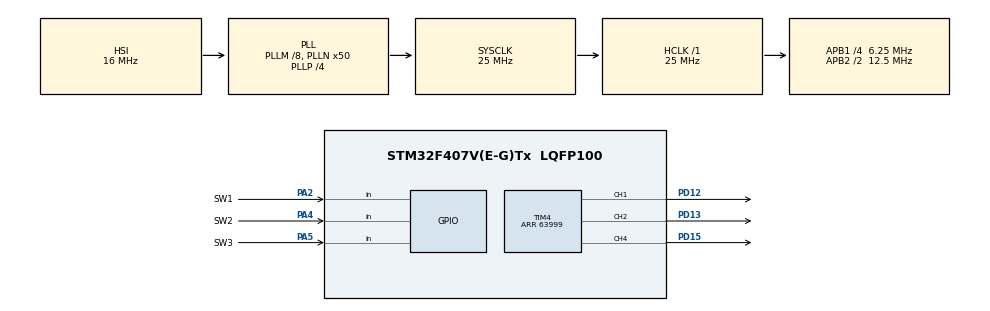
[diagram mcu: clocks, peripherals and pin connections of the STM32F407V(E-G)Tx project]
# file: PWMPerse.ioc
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Mcu.Family=STM32F4
Mcu.Name=STM32F407V(E-G)Tx
Mcu.Package=LQFP100
NVIC.PriorityGroup=NVIC_PRIORITYGROUP_0
PA2.GPIO_Label=SW1
PA2.Signal=GPIO_Input
PA4.GPIO_Label=SW2
PA4.Signal=GPIO_Input
PA5.GPIO_Label=SW3
PA5.Signal=GPIO_Input
PD12.Signal=S_TIM4_CH1
PD13.Signal=S_TIM4_CH2
PD15.Signal=S_TIM4_CH4
ProjectManager.HeapSize=0x200
ProjectManager.StackSize=0x400
ProjectManager.TargetToolchain=STM32CubeIDE
RCC.48MHZClocksFreq_Value=14285714.285714285
RCC.AHBFreq_Value=25000000
RCC.APB1CLKDivider=RCC_HCLK_DIV4
RCC.APB1Freq_Value=6250000
RCC.APB1TimFreq_Value=12500000
RCC.APB2CLKDivider=RCC_HCLK_DIV2
RCC.APB2Freq_Value=12500000
RCC.APB2TimFreq_Value=25000000
RCC.CortexFreq_Value=25000000
RCC.HCLKFreq_Value=25000000
RCC.HSE_VALUE=8000000
RCC.HSI_VALUE=16000000
RCC.LSE_VALUE=32768
RCC.PLLM=8
RCC.PLLN=50
RCC.PLLP=RCC_PLLP_DIV4
RCC.PLLQ=7
RCC.SYSCLKFreq_VALUE=25000000
RCC.SYSCLKSource=RCC_SYSCLKSOURCE_PLLCLK
RCC.VCOOutputFreq_Value=100000000
SH.S_TIM4_CH1.0=TIM4_CH1,PWM Generation1 CH1
SH.S_TIM4_CH2.0=TIM4_CH2,PWM Generation2 CH2
SH.S_TIM4_CH4.0=TIM4_CH4,PWM Generation4 CH4
TIM4.Channel-PWM\ Generation1\ CH1=TIM_CHANNEL_1
TIM4.Channel-PWM\ Generation2\ CH2=TIM_CHANNEL_2
TIM4.Channel-PWM\ Generation4\ CH4=TIM_CHANNEL_4
TIM4.Period=63999
VP_TIM4_VS_ClockSourceINT.Mode=Internal
board=STM32F407G-DISC1

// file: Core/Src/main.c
/* USER CODE BEGIN Header */
/**
 ******************************************************************************
 * @file           : main.c
 * @brief          : Main program body
 ******************************************************************************
 * @attention
 *
 * Copyright (c) 2026 STMicroelectronics.
 * All rights reserved.
 *
 * This software is licensed under terms that can be found in the LICENSE file
 * in the root directory of this software component.
 * If no LICENSE file comes with this software, it is provided AS-IS.
 *
 ******************************************************************************
 */
/* USER CODE END Header */
#include "main.h"
#include <stdbool.h>

/* USER CODE BEGIN PD */
#define TENCENDIDO 2000
#define TAPAGADO 1000
#define TCAMBIO 100
#define VALCAMBIO 16000 //Variable de cambio
#define TREBOTES 20  // intervalo de rebotes en ms

TIM_HandleTypeDef htim4;

uint16_t x = 0;
uint16_t y = 0;

void SystemClock_Config(void);
static void MX_GPIO_Init(void);
static void MX_TIM4_Init(void);

void inicio(void); // Prueba inicial del sistema
// Verificación de botones
bool VerificarSW1(void);
bool VerificarSW2(void);
bool VerificarSW3(void);
// Funciones del programa
void Breathing(void);
void transicionRA(void);
void transicionAV(void);
void transicionVR(void);
void CambiarModo(void);
void CambiarLed(void);
void CambiarBlink(void);
void Blink(void);

// Vector de estados que contiene los distintos modos
typedef enum {
	Modo_Breathing, Modo_Crossfade, Modo_blink
} Modo_t;
static Modo_t modo_actual = Modo_Breathing;

int main(void) {

	HAL_Init();
	SystemClock_Config();
	MX_GPIO_Init();
	MX_TIM4_Init();

	inicio();

	while (1) {
		CambiarModo();
		switch (modo_actual) {
		case Modo_Breathing:
			Breathing();
			break;
		case Modo_Crossfade:
			transicionRA();
			transicionAV();
			transicionVR();
			break;
		case Modo_blink:
			CambiarBlink();
			Blink();
			break;
		}
	}
}

void SystemClock_Config(void) {
	RCC_OscInitTypeDef RCC_OscInitStruct = { 0 };
	RCC_ClkInitTypeDef RCC_ClkInitStruct = { 0 };

	/** Configure the main internal regulator output voltage
	 */
	__HAL_RCC_PWR_CLK_ENABLE();
	__HAL_PWR_VOLTAGESCALING_CONFIG(PWR_REGULATOR_VOLTAGE_SCALE1);

	/** Initializes the RCC Oscillators according to the specified parameters
	 * in the RCC_OscInitTypeDef structure.
	 */
	RCC_OscInitStruct.OscillatorType = RCC_OSCILLATORTYPE_HSI;
	RCC_OscInitStruct.HSIState = RCC_HSI_ON;
	RCC_OscInitStruct.HSICalibrationValue = RCC_HSICALIBRATION_DEFAULT;
	RCC_OscInitStruct.PLL.PLLState = RCC_PLL_ON;
	RCC_OscInitStruct.PLL.PLLSource = RCC_PLLSOURCE_HSI;
	RCC_OscInitStruct.PLL.PLLM = 8;
	RCC_OscInitStruct.PLL.PLLN = 50;
	RCC_OscInitStruct.PLL.PLLP = RCC_PLLP_DIV4;
	RCC_OscInitStruct.PLL.PLLQ = 7;
	if (HAL_RCC_OscConfig(&RCC_OscInitStruct) != HAL_OK) {
		Error_Handler();
	}

	/** Initializes the CPU, AHB and APB buses clocks
	 */
	RCC_ClkInitStruct.ClockType = RCC_CLOCKTYPE_HCLK | RCC_CLOCKTYPE_SYSCLK
			| RCC_CLOCKTYPE_PCLK1 | RCC_CLOCKTYPE_PCLK2;
	RCC_ClkInitStruct.SYSCLKSource = RCC_SYSCLKSOURCE_PLLCLK;
	RCC_ClkInitStruct.AHBCLKDivider = RCC_SYSCLK_DIV1;
	RCC_ClkInitStruct.APB1CLKDivider = RCC_HCLK_DIV4;
	RCC_ClkInitStruct.APB2CLKDivider = RCC_HCLK_DIV2;

	if (HAL_RCC_ClockConfig(&RCC_ClkInitStruct, FLASH_LATENCY_0) != HAL_OK) {
		Error_Handler();
	}
}

static void MX_TIM4_Init(void) {

	TIM_ClockConfigTypeDef sClockSourceConfig = { 0 };
	TIM_MasterConfigTypeDef sMasterConfig = { 0 };
	TIM_OC_InitTypeDef sConfigOC = { 0 };

	htim4.Instance = TIM4;
	htim4.Init.Prescaler = 0;
	htim4.Init.CounterMode = TIM_COUNTERMODE_UP;
	htim4.Init.Period = 63999;
	htim4.Init.ClockDivision = TIM_CLOCKDIVISION_DIV1;
	htim4.Init.AutoReloadPreload = TIM_AUTORELOAD_PRELOAD_DISABLE;
	if (HAL_TIM_Base_Init(&htim4) != HAL_OK) {
		Error_Handler();
	}
	sClockSourceConfig.ClockSource = TIM_CLOCKSOURCE_INTERNAL;
	if (HAL_TIM_ConfigClockSource(&htim4, &sClockSourceConfig) != HAL_OK) {
		Error_Handler();
	}
	if (HAL_TIM_PWM_Init(&htim4) != HAL_OK) {
		Error_Handler();
	}
	sMasterConfig.MasterOutputTrigger = TIM_TRGO_RESET;
	sMasterConfig.MasterSlaveMode = TIM_MASTERSLAVEMODE_DISABLE;
	if (HAL_TIMEx_MasterConfigSynchronization(&htim4, &sMasterConfig)
			!= HAL_OK) {
		Error_Handler();
	}
	sConfigOC.OCMode = TIM_OCMODE_PWM1;
	sConfigOC.Pulse = 0;
	sConfigOC.OCPolarity = TIM_OCPOLARITY_HIGH;
	sConfigOC.OCFastMode = TIM_OCFAST_DISABLE;
	if (HAL_TIM_PWM_ConfigChannel(&htim4, &sConfigOC, TIM_CHANNEL_1)
			!= HAL_OK) {
		Error_Handler();
	}
	if (HAL_TIM_PWM_ConfigChannel(&htim4, &sConfigOC, TIM_CHANNEL_2)
			!= HAL_OK) {
		Error_Handler();
	}
	if (HAL_TIM_PWM_ConfigChannel(&htim4, &sConfigOC, TIM_CHANNEL_4)
			!= HAL_OK) {
		Error_Handler();
	}
	HAL_TIM_MspPostInit(&htim4);

}

static void MX_GPIO_Init(void) {
	GPIO_InitTypeDef GPIO_InitStruct = { 0 };

	/* GPIO Ports Clock Enable */
	__HAL_RCC_GPIOA_CLK_ENABLE();
	__HAL_RCC_GPIOD_CLK_ENABLE();

	/*Configure GPIO pins : SW1_Pin_Pin SW2_Pin_Pin SW3_Pin_Pin */
	GPIO_InitStruct.Pin = SW1_Pin | SW2_Pin | SW3_Pin;
	GPIO_InitStruct.Mode = GPIO_MODE_INPUT;
	GPIO_InitStruct.Pull = GPIO_NOPULL;
	HAL_GPIO_Init(GPIOA, &GPIO_InitStruct);

}

/* USER CODE BEGIN 4 */
// Prueba inicial del sistema
void inicio(void) {
	// Obtenemos el valor máximo de ciclo de trabajo de la configuración del hgardware
	uint16_t ciclomaximo = TIM4->ARR; // Valor máximo de ciclo de trabajo
	// Configuramos el PWM para que inicie con los LED encendidos
	TIM4->CCR1 = ciclomaximo; // LED verde al 100 %
	TIM4->CCR2 = ciclomaximo; // LED rojo al 100 %
	TIM4->CCR4 = ciclomaximo; // LED amarillo al 100%
	// Arrancamos el PWM
	HAL_TIM_PWM_Start(&htim4, TIM_CHANNEL_1); // Inicio de la modulación PWM, LED verde
	HAL_TIM_PWM_Start(&htim4, TIM_CHANNEL_2); // Inicio de la modulación PWM, LED rojo
	HAL_TIM_PWM_Start(&htim4, TIM_CHANNEL_4); // Inicio de la modulación PWM, LED amarillo
	// Mantenemos los LED encendidos por un tiempo
	HAL_Delay(TENCENDIDO); // Retardo de TENCENDIDO milisegundos
	// Apagamos los LED
	TIM4->CCR1 = 0; // LED verde al 0 %
	TIM4->CCR2 = 0; // LED rojo al 0 %
	TIM4->CCR4 = 0; // LED amarillo al 0 %

	HAL_Delay(TAPAGADO);
	TIM4->CCR2 = ciclomaximo;
}

void CambiarModo(void) {
	if (VerificarSW1()) {
		modo_actual = (modo_actual + 1) % 3;
	}
}

void CambiarLed(void) {
	if (VerificarSW2()) {
		x = (x + 1) % 3;
	}
}

void Breathing(void) {
	CambiarLed();
	uint16_t ciclomaximo = TIM4->ARR;
	switch (x) {
	case 0:
		uint16_t ciclorojo = TIM4->CCR2;
		//Inicializamos los LEDS Amarillo y Verde en 0 para dejarlos apagados.
		TIM4->CCR1 = 0;
		TIM4->CCR4 = 0;
		do {
			HAL_Delay(TCAMBIO);
			ciclorojo = (ciclorojo > VALCAMBIO) ? ciclorojo - VALCAMBIO : 0;
			TIM4->CCR2 = ciclorojo;

		} while (ciclorojo > 0);

		do {
			HAL_Delay(TCAMBIO);
			ciclorojo =
					(ciclorojo + VALCAMBIO < ciclomaximo) ?
							ciclorojo + VALCAMBIO : ciclomaximo;
			TIM4->CCR2 = ciclorojo;

		} while (ciclorojo < ciclomaximo);
		break;
	case 1:
		uint16_t cicloamarillo = TIM4->CCR4;
		//Inicializamos los LEDS Rojo y Verde en 0 para dejarlos apagados.
		TIM4->CCR1 = 0;
		TIM4->CCR2 = 0;

		do {
			HAL_Delay(TCAMBIO);
			cicloamarillo =
					(cicloamarillo > VALCAMBIO) ? cicloamarillo - VALCAMBIO : 0;
			TIM4->CCR4 = cicloamarillo;

		} while (cicloamarillo > 0);

		do {
			HAL_Delay(TCAMBIO);
			cicloamarillo =
					(cicloamarillo + VALCAMBIO < ciclomaximo) ?
							cicloamarillo + VALCAMBIO : ciclomaximo;
			TIM4->CCR4 = cicloamarillo;

		} while (cicloamarillo < ciclomaximo);
		break;
	case 2:
		uint16_t cicloverde = TIM4->CCR1;
		TIM4->CCR4 = 0;
		TIM4->CCR2 = 0;
		//Inicializamos los LEDS Rojo y Amarillo en 0 para dejarlos apagados.

		do {
			HAL_Delay(TCAMBIO);
			cicloverde = (cicloverde > VALCAMBIO) ? cicloverde - VALCAMBIO : 0;
			TIM4->CCR1 = cicloverde;

		} while (cicloverde > 0);

		do {
			HAL_Delay(TCAMBIO);
			cicloverde =
					(cicloverde + VALCAMBIO < ciclomaximo) ?
							cicloverde + VALCAMBIO : ciclomaximo;
			TIM4->CCR1 = cicloverde;

		} while (cicloverde < ciclomaximo);
		break;
	}

}

void CambiarBlink(void) {
	if (VerificarSW2()) {
		y = (y + 1) % 5;
	}

	if (VerificarSW3()) {
		y = (y - 1) % 5;
	}
}

void Blink(void) {

	uint16_t intensidad;

	CambiarBlink();

	switch (y) {
	case 0:
		intensidad = 12800;
		break;   // 20%
	case 1:
		intensidad = 25600;
		break;   // 40%
	case 2:
		intensidad = 38400;
		break;   // 60%
	case 3:
		intensidad = 51200;
		break;   // 80%
	case 4:
		intensidad = 64000;
		break;   // 100%
	}

	//Encendemos los LEDs a la intensidad establecida
	TIM4->CCR1 = intensidad;
	TIM4->CCR2 = intensidad;
	TIM4->CCR4 = intensidad;

	HAL_Delay(300); //Esperamos 300ms

	//Apagamos todos los LEDs
	TIM4->CCR1 = 0;
	TIM4->CCR2 = 0;
	TIM4->CCR4 = 0;

	HAL_Delay(300);
}

void transicionRA(void) {
// Obtenemos valores de la configuración del hgardware
	uint16_t ciclomaximo = TIM4->ARR; // Valor máximo de ciclo de trabajo
	uint16_t ciclorojo = TIM4->CCR2; // Valor actual de ciclo de trabajo en LED rojo
	uint16_t cicloamarillo = TIM4->CCR4; // Valor actual de ciclo de trabajo en LED amarillo
	do { // Esperamos un tiempo antes de cambiar las intencidades de lso LED
		HAL_Delay(TCAMBIO); // Espera por TCAMBIO milisegndos
		// Disminuimos un poco la intensidad del LED rojo
		ciclorojo = (ciclorojo > VALCAMBIO) ? ciclorojo - VALCAMBIO : 0; // Decremento con saturación en 0 %
		TIM4->CCR2 = ciclorojo; // Actualiza el ciclo de trabajo en LED rojo
		// Aumentaqmos un poco la intensidad del LED amarillo
		cicloamarillo =
				(ciclomaximo - cicloamarillo > VALCAMBIO) ?
						cicloamarillo + VALCAMBIO : ciclomaximo; // Incremento con saturación en 100 %
		TIM4->CCR4 = cicloamarillo; // Actualiza el ciclo de trabajo en LED amarillo
		// Verficamos si repetimos o invertimos
	} while (ciclorojo > 0 && cicloamarillo < ciclomaximo); // Repetimos mientras no se alcance un límite
}

void transicionAV(void) {
// Obtenemos valores de la configuración del hgardware
	uint16_t ciclomaximo = TIM4->ARR; // Valor máximo de ciclo de trabajo
	uint16_t cicloverde = TIM4->CCR1; // Valor actual de ciclo de trabajo en LED verde
	uint16_t cicloamarillo = TIM4->CCR4; // Valor actual de ciclo de trabajo en LED amarillo
	do { // Esperamos un tiempo antes de cambiar las intencidades de lso LED
		HAL_Delay(TCAMBIO); // Espera por TCAMBIO milisegndos
		// Disminuimos un poco la intensidad del LED amarillo
		cicloamarillo =
				(cicloamarillo > VALCAMBIO) ? cicloamarillo - VALCAMBIO : 0; // Decremento con saturación en 0 %
		TIM4->CCR4 = cicloamarillo; // Actualiza el ciclo de trabajo en LED rojo
		// Aumentaqmos un poco la intensidad del LED verde
		cicloverde =
				(ciclomaximo - cicloverde > VALCAMBIO) ?
						cicloverde + VALCAMBIO : ciclomaximo; // Incremento con saturación en 100 %
		TIM4->CCR1 = cicloverde; // Actualiza el ciclo de trabajo en LED verde
		// Verficamos si repetimos o invertimos
	} while (cicloamarillo > 0 && cicloverde < ciclomaximo); // Repetimos mientras no se alcance un límite
}

// Disminuye rojo, aumenta verde
void transicionVR(void) {
// Obtenemos valores de la configuración del hgardware
	uint16_t ciclomaximo = TIM4->ARR; // Valor máximo de ciclo de trabajo
	uint16_t cicloverde = TIM4->CCR1; // Valor actual de ciclo de trabajo en LED verde
	uint16_t ciclorojo = TIM4->CCR2; // Valor actual de ciclo de trabajo en LED rojo
	do {
// Esperamos un tiempo antes de cambiar las intencidades de lso LED
		HAL_Delay(TCAMBIO); // Espera por TCAMBIO milisegndos
		// Disminuimos un poco la intensidad del LED verde
		cicloverde = (cicloverde > VALCAMBIO) ? cicloverde - VALCAMBIO : 0; // Decremento con saturación en 0 %
		TIM4->CCR1 = cicloverde; // Actualiza el ciclo de trabajo en LED verde
		// Aumentaqmos un poco la intensidad del LED rojo
		ciclorojo =
				(ciclomaximo - ciclorojo > VALCAMBIO) ?
						ciclorojo + VALCAMBIO : ciclomaximo; // Incremento con saturación en 100 %
		TIM4->CCR2 = ciclorojo; // Actualiza el ciclo de trabajo en LED rojo
		// Verficamos si repetimos o invertimos
	} while (cicloverde > 0 && ciclorojo < ciclomaximo); // Repetimos mientras no se alcance un límite
}

bool VerificarSW1(void) {
	static GPIO_PinState ultima_lectura_valida = GPIO_PIN_SET; //Boton liberado.
	GPIO_PinState lectura1, lectura2; //Se crean variables para lecturas intermedias.
	bool pedido = false; //No hay pedido hasta que se pulsa el botón.
	lectura1 = HAL_GPIO_ReadPin(SWITCH_GPIO_Port, SW1_Pin); //Se lee el estado del botón SW1.

	if (lectura1 != ultima_lectura_valida) { //Si la lectura del Botón SW1 es distinta de 1 (acordarse que los botones son activo bajo).
		//Se espera un tiempo para filtrar los rebotes.
		HAL_Delay(TREBOTES); //Retardo de TREBOTES ms.
		lectura2 = HAL_GPIO_ReadPin(SWITCH_GPIO_Port, SW1_Pin); //Se lee nuevamente el estado del botón SW1.
		if (lectura2 == lectura1) { //Si ambas lecturas son iguales, se pulso el botón.
			ultima_lectura_valida = lectura2;
		}
		if (ultima_lectura_valida == GPIO_PIN_RESET) //Si la última lectura es igual a 0.
			pedido = true;
	}
	return pedido; // Devuelve a VerificarSW1 si se presiono o no el botón.
}

bool VerificarSW2(void) {
	static GPIO_PinState ultima_lectura_valida = GPIO_PIN_SET; //Boton liberado.
	GPIO_PinState lectura1, lectura2; //Se crean variables para lecturas intermedias.
	bool pedido = false; //No hay pedido hasta que se pulsa el botón.
	lectura1 = HAL_GPIO_ReadPin(SWITCH_GPIO_Port, SW2_Pin); //Se lee el estado del botón SW2.

	if (lectura1 != ultima_lectura_valida) { //Si la lectura del Botón SW2 es distinta de 1 (acordarse que los botones son activo bajo).
		//Se espera un tiempo para filtrar los rebotes.
		HAL_Delay(TREBOTES); //Retardo de TREBOTES ms.
		lectura2 = HAL_GPIO_ReadPin(SWITCH_GPIO_Port, SW2_Pin); //Se lee nuevamente el estado del botón SW2.
		if (lectura2 == lectura1) { //Si ambas lecturas son iguales, se pulso el botón.
			ultima_lectura_valida = lectura2;
		}
		if (ultima_lectura_valida == GPIO_PIN_RESET) //Si la última lectura es igual a 0.
			pedido = true;
	}
	return pedido; // Devuelve a VerificarSW2 si se presiono o no el botón.
}

bool VerificarSW3(void) {
	static GPIO_PinState ultima_lectura_valida = GPIO_PIN_SET; //Boton liberado.
	GPIO_PinState lectura1, lectura2; //Se crean variables para lecturas intermedias.
	bool pedido = false; //No hay pedido hasta que se pulsa el botón.
	lectura1 = HAL_GPIO_ReadPin(SWITCH_GPIO_Port, SW3_Pin); //Se lee el estado del botón SW3.

	if (lectura1 != ultima_lectura_valida) { //Si la lectura del Botón SW3 es distinta de 1 (acordarse que los botones son activo bajo).
		//Se espera un tiempo para filtrar los rebotes.
		HAL_Delay(TREBOTES); //Retardo de TREBOTES ms.
		lectura2 = HAL_GPIO_ReadPin(SWITCH_GPIO_Port, SW3_Pin); //Se lee nuevamente el estado del botón SW3.
		if (lectura2 == lectura1) { //Si ambas lecturas son iguales, se pulso el botón.
			ultima_lectura_valida = lectura2;
		}
		if (ultima_lectura_valida == GPIO_PIN_RESET) //Si la última lectura es igual a 0.
			pedido = true;
	}
	return pedido; // Devuelve a VerificarSW3 si se presiono o no el botón.
}

/* USER CODE END 4 */

void Error_Handler(void) {
	__disable_irq();
	while (1) {
	}
}
